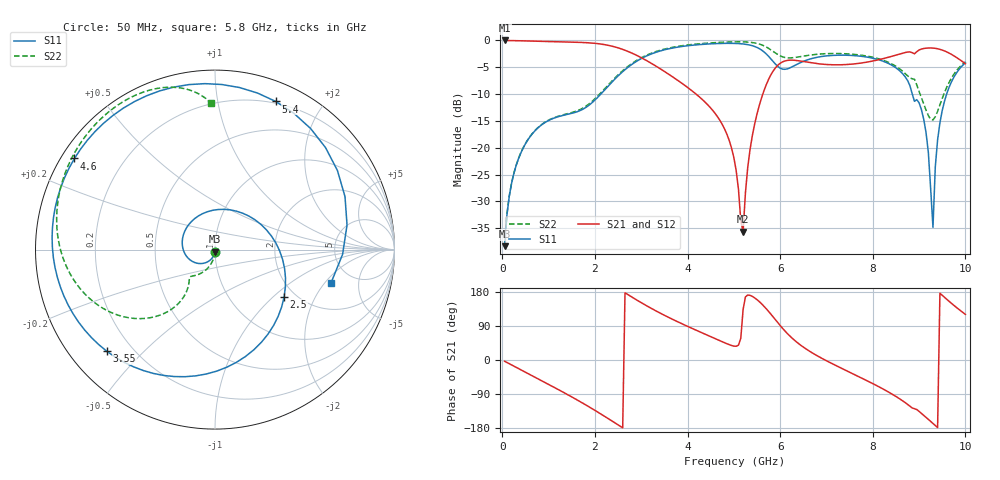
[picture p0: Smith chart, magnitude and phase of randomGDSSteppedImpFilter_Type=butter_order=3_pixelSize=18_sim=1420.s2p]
! freq	dB(S11)	phase(S11)	dB(S12)	phase(S12)
!  dB(S21)	phase(S21)	dB(S22)	phase(S22)
!S-par simulation data
#  GHz  S  DB  R 50
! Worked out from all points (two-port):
!   200 points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, 50 MHz to 10 GHz, reference 50 ohm
!   highest |S21| = -0.01 dB at 50 MHz (marker M1); lowest = -35.6 dB at 5.2 GHz (marker M2)
!   |S21| within 3 dB of the highest: start of sweep to 2.954 GHz; 8.391 GHz to 9.777 GHz (1.386 GHz wide, 15.3 % of centre)
!   lowest |S11| = -38.3 dB at 50 MHz (marker M3), VSWR 1.02, Z = 49.9 - j1.21 ohm
!   |S11| at or under -10 dB: start of sweep to 2.128 GHz; 8.853 GHz to 9.595 GHz (741.7 MHz wide, 8.04 % of centre)
!   |S22| runs from -38.3 to -0.3 dB; largest |S21 - S12| = 0
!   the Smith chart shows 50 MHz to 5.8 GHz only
!   S11 on the Smith chart (normalised r, x): 50 MHz: 1.00, -0.02; 2.5 GHz: 1.75, -1.18; 3.55 GHz: 0.11, -0.39; 4.6 GHz: 0.04, +0.30; 5.4 GHz: 0.18, +1.48; 5.8 GHz: 3.45, -2.32
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0.05  -38.34 -92.8  -0.01 -3.3  -0.01 -3.3  -38.30 -90.4
0.2  -26.64 -107.3  -0.03 -13.0  -0.03 -13.0  -26.60 -98.5
0.5  -19.26 -134.4  -0.10 -32.3  -0.10 -32.3  -19.21 -111.2
1.75  -12.77 77.4  -0.39 -114.7  -0.39 -114.7  -12.56 -128.1
2.5  -6.62 -34.4  -1.39 -171.1  -1.39 -171.1  -6.43 -130.0
3.4  -1.99 -124.8  -5.23 124.3  -5.23 124.3  -1.86 -168.4
3.55  -1.65 -136.8  -6.06 114.9  -6.06 114.9  -1.52 -174.9
4.6  -0.60 147.0  -13.65 56.2  -13.65 56.2  -0.41 143.4
5.05  -0.57 109.2  -24.23 36.3  -24.23 36.3  -0.26 125.6
5.2  -0.66 93.5  -35.64 133.1  -35.64 133.1  -0.27 119.2
5.4  -0.99 67.7  -17.71 167.8  -17.71 167.8  -0.40 110.0
5.8  -3.44 -15.9  -6.41 120.9  -6.41 120.9  -1.77 91.7
6  -5.17 -79.4  -4.27 91.0  -4.27 91.0  -2.87 88.5
6.25  -4.96 -152.2  -3.68 58.5  -3.68 58.5  -3.25 88.4
6.7  -3.34 135.6  -4.21 18.3  -4.21 18.3  -2.67 79.5
7.4  -2.75 73.1  -4.51 -26.3  -4.51 -26.3  -2.48 55.1
8.35  -4.34 0.7  -3.11 -85.3  -3.11 -85.3  -4.13 14.7
9.05  -12.89 -58.4  -1.61 -140.8  -1.61 -140.8  -10.67 -14.1
9.3  -34.83 141.5  -1.43 -167.4  -1.43 -167.4  -14.81 21.6
9.35  -23.57 100.5  -1.48 -172.9  -1.48 -172.9  -14.23 32.3
9.5  -13.06 74.9  -1.80 170.7  -1.80 170.7  -10.80 48.1
10  -4.18 20.9  -4.35 120.4  -4.35 120.4  -4.01 27.0
